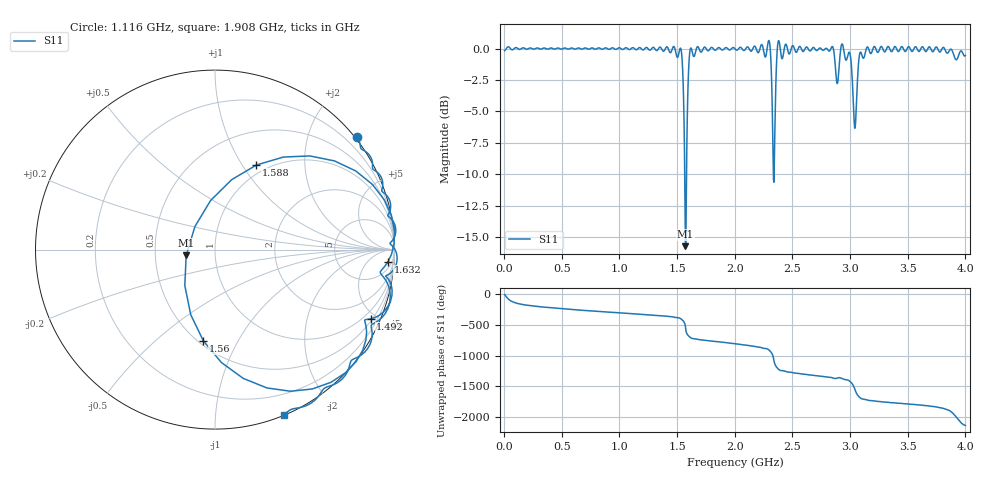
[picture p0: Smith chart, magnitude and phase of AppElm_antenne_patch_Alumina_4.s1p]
! TOUCHSTONE file generated by CST MICROWAVE STUDIO
! Date and time: Thu Jun  9 15:37:36 2022
! Project name: AppElm_antenne_patch_Alumina.cst
! Parameters = {L=30.5; W=41.8; e=0.035; h=1.6; lambda=0.190476; ls=90; w0=1.12; w1=0.373; ws=81; y0=14; y1=10}
! Header version: 2018
! Port assignment regex: !\s*Touchstone port\s*([0-9]+)\s*=\s*(CST MWS port|CST DS port)\s*([0-9]+|Zmin|Zmax)\s*\(\"(.*)\"\)(\s*mode\s*([0-9]+))?.*
! Touchstone port assignment:
! Touchstone port 1 = CST MWS port 1 ("")
# GHz S MA R 50
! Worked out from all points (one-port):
!   1000 points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, 4 MHz to 4 GHz, reference 50 ohm
!   lowest |S11| = -15.7 dB at 1.572 GHz (marker M1), VSWR 1.39, Z = 36.1 - j2.39 ohm
!   |S11| at or under -10 dB: 1.566 GHz to 1.582 GHz (15.45 MHz wide, 0.982 % of centre); 2.335158 GHz to 2.341329 GHz (6.17 MHz wide, 0.264 % of centre)
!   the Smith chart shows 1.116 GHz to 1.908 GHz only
!   S11 on the Smith chart (normalised r, x): 1.116 GHz: -0.04, +2.88; 1.492 GHz: 0.59, -4.63; 1.56 GHz: 0.53, -0.73; 1.588 GHz: 0.89, +1.16; 1.632 GHz: 11, -23; 1.908 GHz: 0.00, -1.50
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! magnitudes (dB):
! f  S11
! 4 MHz  -0.2
! 504 MHz  0.0
! 1.004 GHz  0.0
! 1.116 GHz  0.1
! 1.492 GHz  -0.5
! 1.504 GHz  -0.7
! 1.536 GHz  -0.2
! 1.56 GHz  -5.8
! 1.572 GHz  -15.7
! 1.588 GHz  -5.6
! 1.608 GHz  -0.4
! 1.632 GHz  -0.3
! 1.908 GHz  0.0
! 2.004 GHz  0.0
! 2.292 GHz  0.6
! 2.308 GHz  -0.1
! 2.328 GHz  -6.1
! 2.34 GHz  -10.6
! 2.38 GHz  0.6
! 2.504 GHz  0.2
! 2.84 GHz  0.1
! 2.888 GHz  -2.8
! 2.932 GHz  0.4
! 3.004 GHz  -0.7
! 3.044 GHz  -6.3
! 3.096 GHz  -0.3
! 3.504 GHz  0.1
! 4 GHz  -0.5
